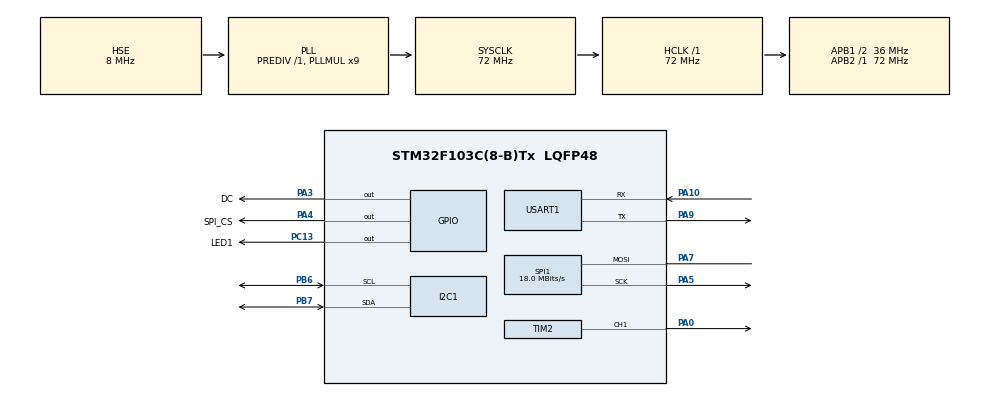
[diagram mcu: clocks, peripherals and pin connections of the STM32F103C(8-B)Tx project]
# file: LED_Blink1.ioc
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Mcu.Family=STM32F1
Mcu.Name=STM32F103C(8-B)Tx
Mcu.Package=LQFP48
NVIC.PriorityGroup=NVIC_PRIORITYGROUP_4
NVIC.TIM1_UP_IRQn=true\:0\:0\:false\:false\:true\:true\:true\:true
PA0-WKUP.Signal=S_TIM2_CH1_ETR
PA10.Mode=Asynchronous
PA10.Signal=USART1_RX
PA13.Mode=Serial_Wire
PA13.Signal=SYS_JTMS-SWDIO
PA14.Mode=Serial_Wire
PA14.Signal=SYS_JTCK-SWCLK
PA3.GPIO_Label=DC
PA3.GPIO_Speed=GPIO_SPEED_FREQ_MEDIUM
PA3.PinState=GPIO_PIN_SET
PA3.Signal=GPIO_Output
PA4.GPIO_Label=SPI_CS
PA4.PinState=GPIO_PIN_SET
PA4.Signal=GPIO_Output
PA5.Mode=Simplex_Bidirectional_Master
PA5.Signal=SPI1_SCK
PA7.Mode=Simplex_Bidirectional_Master
PA7.Signal=SPI1_MOSI
PA9.Mode=Asynchronous
PA9.Signal=USART1_TX
PB6.Mode=I2C
PB6.Signal=I2C1_SCL
PB7.Mode=I2C
PB7.Signal=I2C1_SDA
PC13-TAMPER-RTC.GPIO_Label=LED1
PC13-TAMPER-RTC.GPIO_Speed=GPIO_SPEED_FREQ_MEDIUM
PC13-TAMPER-RTC.Signal=GPIO_Output
PD0-OSC_IN.Mode=HSE-External-Oscillator
PD0-OSC_IN.Signal=RCC_OSC_IN
PD1-OSC_OUT.Mode=HSE-External-Oscillator
PD1-OSC_OUT.Signal=RCC_OSC_OUT
ProjectManager.HeapSize=0x200
ProjectManager.StackSize=0x400
ProjectManager.TargetToolchain=STM32CubeIDE
RCC.AHBFreq_Value=72000000
RCC.APB1CLKDivider=RCC_HCLK_DIV2
RCC.APB1Freq_Value=36000000
RCC.APB1TimFreq_Value=72000000
RCC.APB2Freq_Value=72000000
RCC.APB2TimFreq_Value=72000000
RCC.HCLKFreq_Value=72000000
RCC.PLLMUL=RCC_PLL_MUL9
RCC.PLLSourceVirtual=RCC_PLLSOURCE_HSE
RCC.SYSCLKFreq_VALUE=72000000
RCC.SYSCLKSource=RCC_SYSCLKSOURCE_PLLCLK
RCC.USBFreq_Value=72000000
SH.S_TIM2_CH1_ETR.0=TIM2_CH1,PWM Generation1 CH1
SPI1.BaudRatePrescaler=SPI_BAUDRATEPRESCALER_4
SPI1.CalculateBaudRate=18.0 MBits/s
SPI1.Direction=SPI_DIRECTION_1LINE
SPI1.Mode=SPI_MODE_MASTER
SPI1.VirtualType=VM_MASTER
TIM1.Period=6553
TIM1.Prescaler=1024
TIM2.Channel-PWM\ Generation1\ CH1=TIM_CHANNEL_1
TIM2.Period=6553
TIM2.Prescaler=64
TIM2.Pulse-PWM\ Generation1\ CH1=512
USART1.VirtualMode=VM_ASYNC
VP_TIM1_VS_ClockSourceINT.Mode=Internal
VP_TIM2_VS_ClockSourceINT.Mode=Internal
board=custom

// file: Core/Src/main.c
/* USER CODE BEGIN Header */
/**
  ******************************************************************************
  * @file           : main.c
  * @brief          : Main program body
  ******************************************************************************
  * @attention
  *
  * Copyright (c) 2026 STMicroelectronics.
  * All rights reserved.
  *
  * This software is licensed under terms that can be found in the LICENSE file
  * in the root directory of this software component.
  * If no LICENSE file comes with this software, it is provided AS-IS.
  *
  ******************************************************************************
  */
/* USER CODE END Header */
#include "main.h"

/* USER CODE BEGIN Includes */
#include "our_HAL.h"
#include <string.h>
#include <stdio.h>
/* USER CODE END Includes */

I2C_HandleTypeDef hi2c1;

SPI_HandleTypeDef hspi1;

TIM_HandleTypeDef htim1;
TIM_HandleTypeDef htim2;

UART_HandleTypeDef huart1;

/* USER CODE BEGIN PV */

void HAL_TIM_PeriodElapsedCallback(TIM_HandleTypeDef *htim)
{
	HAL_GPIO_TogglePin(LED1_GPIO_Port,LED1_Pin);
}

/* USER CODE END PV */

void SystemClock_Config(void);
static void MX_GPIO_Init(void);
static void MX_TIM1_Init(void);
static void MX_TIM2_Init(void);
static void MX_USART1_UART_Init(void);
static void MX_I2C1_Init(void);
static void MX_SPI1_Init(void);

int main(void)
{

  /* MCU Configuration--------------------------------------------------------*/

  /* Reset of all peripherals, Initializes the Flash interface and the Systick. */
  HAL_Init();

  /* Configure the system clock */
  SystemClock_Config();

  /* Initialize all configured peripherals */
  MX_GPIO_Init();
  MX_TIM1_Init();
  MX_TIM2_Init();
  MX_USART1_UART_Init();
  MX_I2C1_Init();
  MX_SPI1_Init();
  /* USER CODE BEGIN 2 */

  uint32_t i =10;
  HAL_TIM_Base_Start_IT(&htim1);

  HAL_TIM_Base_Start(&htim2);
  HAL_TIM_PWM_Start(&htim2,TIM_CHANNEL_1);

  uint8_t uart_data[100] = "This is a string of text!\r\n";
  uint8_t uart_data_rx[100];
  /* USER CODE END 2 */

  /* Infinite loop */
  /* USER CODE BEGIN WHILE */
  while (1)
  {
	  //myBlink(&i);
	  __HAL_TIM_SET_AUTORELOAD(&htim1,i);
	  i = i+10;

	  TIM2->CCR1 = i;
	  HAL_Delay(100);

	  uint8_t temp_data[2];

	  uint8_t addr_main = 0b01001000;

	  uint8_t addr = 0x01;

	  addr = addr_main | addr;

	  HAL_I2C_Master_Transmit(&hi2c1,addr,0x00,1,1000);

	  HAL_Delay(100);

	  HAL_I2C_Master_Receive(&hi2c1,addr,temp_data,2,1000);

	  uint16_t temp1 = ((( uint16_t) temp_data[0] <<8) | ( uint16_t) temp_data[1])/32;

	  float temperature = temp1/8.0;

	  sprintf(uart_data,"%f.2 \r\n",temperature);

	  HAL_UART_Transmit(&huart1, uart_data, strlen(uart_data), 1000);

	  uint8_t pixel_data[40960];

	  //create the data we want to send to the display!!!!

	  write_to_display(pixel_data, 40960);

	//  HAL_UART_Receive_IT(&huart1,uart_data_rx,100,5000);

    /* USER CODE END WHILE */

  }
}

void SystemClock_Config(void)
{
  RCC_OscInitTypeDef RCC_OscInitStruct = {0};
  RCC_ClkInitTypeDef RCC_ClkInitStruct = {0};

  /** Initializes the RCC Oscillators according to the specified parameters
  * in the RCC_OscInitTypeDef structure.
  */
  RCC_OscInitStruct.OscillatorType = RCC_OSCILLATORTYPE_HSE;
  RCC_OscInitStruct.HSEState = RCC_HSE_ON;
  RCC_OscInitStruct.HSEPredivValue = RCC_HSE_PREDIV_DIV1;
  RCC_OscInitStruct.HSIState = RCC_HSI_ON;
  RCC_OscInitStruct.PLL.PLLState = RCC_PLL_ON;
  RCC_OscInitStruct.PLL.PLLSource = RCC_PLLSOURCE_HSE;
  RCC_OscInitStruct.PLL.PLLMUL = RCC_PLL_MUL9;
  if (HAL_RCC_OscConfig(&RCC_OscInitStruct) != HAL_OK)
  {
    Error_Handler();
  }

  /** Initializes the CPU, AHB and APB buses clocks
  */
  RCC_ClkInitStruct.ClockType = RCC_CLOCKTYPE_HCLK|RCC_CLOCKTYPE_SYSCLK
                              |RCC_CLOCKTYPE_PCLK1|RCC_CLOCKTYPE_PCLK2;
  RCC_ClkInitStruct.SYSCLKSource = RCC_SYSCLKSOURCE_PLLCLK;
  RCC_ClkInitStruct.AHBCLKDivider = RCC_SYSCLK_DIV1;
  RCC_ClkInitStruct.APB1CLKDivider = RCC_HCLK_DIV2;
  RCC_ClkInitStruct.APB2CLKDivider = RCC_HCLK_DIV1;

  if (HAL_RCC_ClockConfig(&RCC_ClkInitStruct, FLASH_LATENCY_2) != HAL_OK)
  {
    Error_Handler();
  }
}

static void MX_I2C1_Init(void)
{

  hi2c1.Instance = I2C1;
  hi2c1.Init.ClockSpeed = 100000;
  hi2c1.Init.DutyCycle = I2C_DUTYCYCLE_2;
  hi2c1.Init.OwnAddress1 = 0;
  hi2c1.Init.AddressingMode = I2C_ADDRESSINGMODE_7BIT;
  hi2c1.Init.DualAddressMode = I2C_DUALADDRESS_DISABLE;
  hi2c1.Init.OwnAddress2 = 0;
  hi2c1.Init.GeneralCallMode = I2C_GENERALCALL_DISABLE;
  hi2c1.Init.NoStretchMode = I2C_NOSTRETCH_DISABLE;
  if (HAL_I2C_Init(&hi2c1) != HAL_OK)
  {
    Error_Handler();
  }

}

static void MX_SPI1_Init(void)
{

  /* SPI1 parameter configuration*/
  hspi1.Instance = SPI1;
  hspi1.Init.Mode = SPI_MODE_MASTER;
  hspi1.Init.Direction = SPI_DIRECTION_1LINE;
  hspi1.Init.DataSize = SPI_DATASIZE_8BIT;
  hspi1.Init.CLKPolarity = SPI_POLARITY_LOW;
  hspi1.Init.CLKPhase = SPI_PHASE_1EDGE;
  hspi1.Init.NSS = SPI_NSS_SOFT;
  hspi1.Init.BaudRatePrescaler = SPI_BAUDRATEPRESCALER_4;
  hspi1.Init.FirstBit = SPI_FIRSTBIT_MSB;
  hspi1.Init.TIMode = SPI_TIMODE_DISABLE;
  hspi1.Init.CRCCalculation = SPI_CRCCALCULATION_DISABLE;
  hspi1.Init.CRCPolynomial = 10;
  if (HAL_SPI_Init(&hspi1) != HAL_OK)
  {
    Error_Handler();
  }

}

static void MX_TIM1_Init(void)
{

  TIM_ClockConfigTypeDef sClockSourceConfig = {0};
  TIM_MasterConfigTypeDef sMasterConfig = {0};

  htim1.Instance = TIM1;
  htim1.Init.Prescaler = 1024;
  htim1.Init.CounterMode = TIM_COUNTERMODE_UP;
  htim1.Init.Period = 6553;
  htim1.Init.ClockDivision = TIM_CLOCKDIVISION_DIV1;
  htim1.Init.RepetitionCounter = 0;
  htim1.Init.AutoReloadPreload = TIM_AUTORELOAD_PRELOAD_DISABLE;
  if (HAL_TIM_Base_Init(&htim1) != HAL_OK)
  {
    Error_Handler();
  }
  sClockSourceConfig.ClockSource = TIM_CLOCKSOURCE_INTERNAL;
  if (HAL_TIM_ConfigClockSource(&htim1, &sClockSourceConfig) != HAL_OK)
  {
    Error_Handler();
  }
  sMasterConfig.MasterOutputTrigger = TIM_TRGO_RESET;
  sMasterConfig.MasterSlaveMode = TIM_MASTERSLAVEMODE_DISABLE;
  if (HAL_TIMEx_MasterConfigSynchronization(&htim1, &sMasterConfig) != HAL_OK)
  {
    Error_Handler();
  }

}

static void MX_TIM2_Init(void)
{

  TIM_ClockConfigTypeDef sClockSourceConfig = {0};
  TIM_MasterConfigTypeDef sMasterConfig = {0};
  TIM_OC_InitTypeDef sConfigOC = {0};

  htim2.Instance = TIM2;
  htim2.Init.Prescaler = 64;
  htim2.Init.CounterMode = TIM_COUNTERMODE_UP;
  htim2.Init.Period = 6553;
  htim2.Init.ClockDivision = TIM_CLOCKDIVISION_DIV1;
  htim2.Init.AutoReloadPreload = TIM_AUTORELOAD_PRELOAD_DISABLE;
  if (HAL_TIM_Base_Init(&htim2) != HAL_OK)
  {
    Error_Handler();
  }
  sClockSourceConfig.ClockSource = TIM_CLOCKSOURCE_INTERNAL;
  if (HAL_TIM_ConfigClockSource(&htim2, &sClockSourceConfig) != HAL_OK)
  {
    Error_Handler();
  }
  if (HAL_TIM_PWM_Init(&htim2) != HAL_OK)
  {
    Error_Handler();
  }
  sMasterConfig.MasterOutputTrigger = TIM_TRGO_RESET;
  sMasterConfig.MasterSlaveMode = TIM_MASTERSLAVEMODE_DISABLE;
  if (HAL_TIMEx_MasterConfigSynchronization(&htim2, &sMasterConfig) != HAL_OK)
  {
    Error_Handler();
  }
  sConfigOC.OCMode = TIM_OCMODE_PWM1;
  sConfigOC.Pulse = 512;
  sConfigOC.OCPolarity = TIM_OCPOLARITY_HIGH;
  sConfigOC.OCFastMode = TIM_OCFAST_DISABLE;
  if (HAL_TIM_PWM_ConfigChannel(&htim2, &sConfigOC, TIM_CHANNEL_1) != HAL_OK)
  {
    Error_Handler();
  }
  HAL_TIM_MspPostInit(&htim2);

}

static void MX_USART1_UART_Init(void)
{

  huart1.Instance = USART1;
  huart1.Init.BaudRate = 115200;
  huart1.Init.WordLength = UART_WORDLENGTH_8B;
  huart1.Init.StopBits = UART_STOPBITS_1;
  huart1.Init.Parity = UART_PARITY_NONE;
  huart1.Init.Mode = UART_MODE_TX_RX;
  huart1.Init.HwFlowCtl = UART_HWCONTROL_NONE;
  huart1.Init.OverSampling = UART_OVERSAMPLING_16;
  if (HAL_UART_Init(&huart1) != HAL_OK)
  {
    Error_Handler();
  }

}

static void MX_GPIO_Init(void)
{
  GPIO_InitTypeDef GPIO_InitStruct = {0};

  /* GPIO Ports Clock Enable */
  __HAL_RCC_GPIOC_CLK_ENABLE();
  __HAL_RCC_GPIOD_CLK_ENABLE();
  __HAL_RCC_GPIOA_CLK_ENABLE();
  __HAL_RCC_GPIOB_CLK_ENABLE();

  /*Configure GPIO pin Output Level */
  HAL_GPIO_WritePin(LED1_GPIO_Port, LED1_Pin, GPIO_PIN_RESET);

  /*Configure GPIO pin Output Level */
  HAL_GPIO_WritePin(GPIOA, DC_Pin|SPI_CS_Pin, GPIO_PIN_SET);

  /*Configure GPIO pin : LED1_Pin */
  GPIO_InitStruct.Pin = LED1_Pin;
  GPIO_InitStruct.Mode = GPIO_MODE_OUTPUT_PP;
  GPIO_InitStruct.Pull = GPIO_NOPULL;
  GPIO_InitStruct.Speed = GPIO_SPEED_FREQ_MEDIUM;
  HAL_GPIO_Init(LED1_GPIO_Port, &GPIO_InitStruct);

  /*Configure GPIO pin : DC_Pin */
  GPIO_InitStruct.Pin = DC_Pin;
  GPIO_InitStruct.Mode = GPIO_MODE_OUTPUT_PP;
  GPIO_InitStruct.Pull = GPIO_NOPULL;
  GPIO_InitStruct.Speed = GPIO_SPEED_FREQ_MEDIUM;
  HAL_GPIO_Init(DC_GPIO_Port, &GPIO_InitStruct);

  /*Configure GPIO pin : SPI_CS_Pin */
  GPIO_InitStruct.Pin = SPI_CS_Pin;
  GPIO_InitStruct.Mode = GPIO_MODE_OUTPUT_PP;
  GPIO_InitStruct.Pull = GPIO_NOPULL;
  GPIO_InitStruct.Speed = GPIO_SPEED_FREQ_LOW;
  HAL_GPIO_Init(SPI_CS_GPIO_Port, &GPIO_InitStruct);

}

void Error_Handler(void)
{
  __disable_irq();
  while (1)
  {
  }
}
